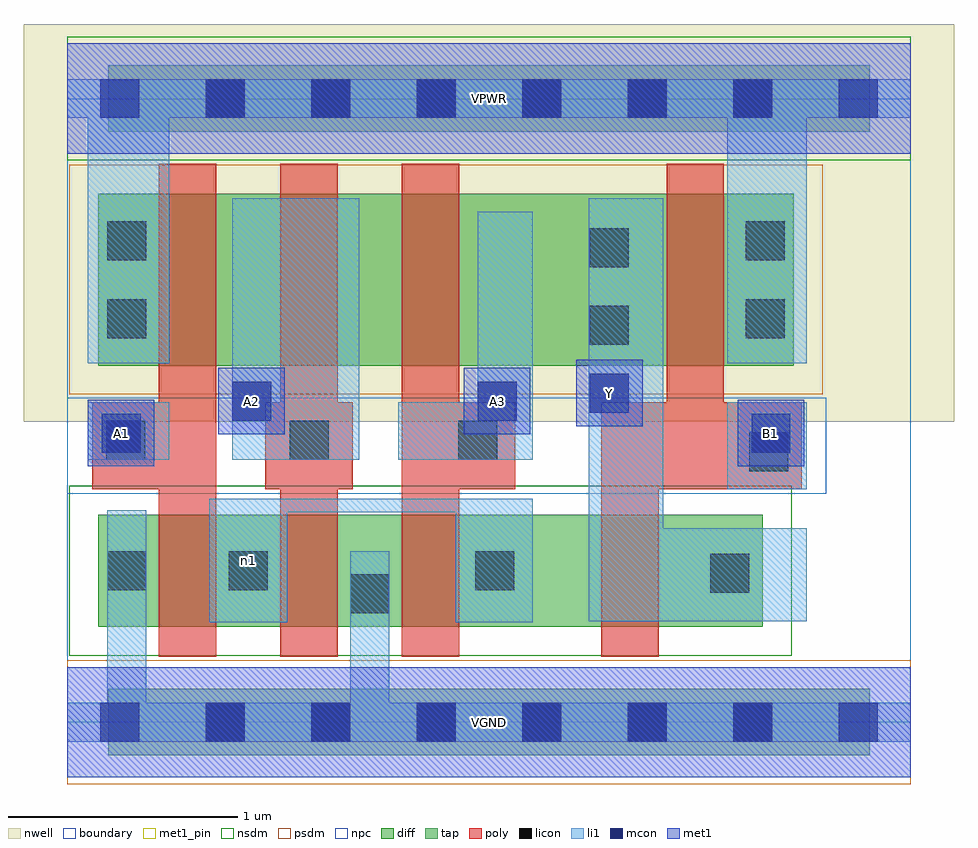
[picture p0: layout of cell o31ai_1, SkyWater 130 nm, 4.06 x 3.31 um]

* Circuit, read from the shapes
.subckt o31ai_1 A1 A2 A3 B1 VGND VPWR Y n1
XM1 n1 A1 VGND VGND sky130_fd_pr__nfet_01v8 w=0.49 l=0.25
XM2 VGND A2 n1 VGND sky130_fd_pr__nfet_01v8 w=0.49 l=0.25
XM3 n1 A3 VGND VGND sky130_fd_pr__nfet_01v8 w=0.49 l=0.25
XM4 Y B1 n1 VGND sky130_fd_pr__nfet_01v8 w=0.49 l=0.25
XM5 n2 A1 VPWR VPWR sky130_fd_pr__pfet_01v8 w=0.75 l=0.25
XM6 n3 A2 n2 VPWR sky130_fd_pr__pfet_01v8 w=0.75 l=0.25
XM7 Y A3 n3 VPWR sky130_fd_pr__pfet_01v8 w=0.75 l=0.25
XM8 VPWR B1 Y VPWR sky130_fd_pr__pfet_01v8 w=0.75 l=0.25
.ends

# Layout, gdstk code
import gdstk
lib = gdstk.Library(unit=1e-6, precision=1e-09)
def R(c, l, rs):  # rectangles x0, y0, x1, y1
    for r in rs: c.add(gdstk.rectangle(r[:2], r[2:], *l))
def A(c, l, x, y, w, h, nx, ny, dx, dy):  # array of equal rectangles
    R(c, l, [(x+i*dx, y+j*dy, x+i*dx+w, y+j*dy+h) for i in range(nx) for j in range(ny)])
nwell = (64, 20)
diff = (65, 20)
tap = (65, 44)
poly = (66, 20)
licon = (66, 44)
li1 = (67, 20)
mcon = (67, 44)
met1_pin = (68, 16)
met1 = (68, 20)
nsdm = (93, 44)
psdm = (94, 20)
npc = (95, 20)
boundary = (235, 4)

o31ai_1 = lib.new_cell('o31ai_1')
R(o31ai_1, nwell, [(-0.19,1.31,3.87,3.045), (0,1.31,3.68,3.045)])
R(o31ai_1, diff, [(0.135,0.415,3.035,0.905), (0.135,1.555,3.17,2.305)])
R(o31ai_1, tap, [(0.18,-0.145,3.5,0.145), (0.18,2.575,3.5,2.865)])
A(o31ai_1, poly, 0.4, 0.285, 0.25, 2.15, 3, 1, 0.53, 0)
R(o31ai_1, poly, [(2.33,0.285,2.58,1.395), (0.11,1.015,0.65,1.395), (0.865,1.015,1.245,1.395), (1.46,1.015,1.955,1.395), (2.33,1.015,3.205,1.395), (2.615,1.015,2.865,2.435)])
A(o31ai_1, licon, 0.605, -0.085, 0.17, 0.17, 6, 2, 0.46, 2.72)
R(o31ai_1, licon, [(1.235,0.475,1.405,0.645), (2.805,0.565,2.975,0.735), (0.175,0.575,0.345,0.745), (0.705,0.575,0.875,0.745), (1.78,0.575,1.95,0.745), (2.975,1.095,3.145,1.265), (0.17,1.145,0.34,1.315), (0.97,1.145,1.14,1.315), (1.705,1.145,1.875,1.315), (2.28,1.645,2.45,1.815), (0.175,1.675,0.345,1.845), (2.96,1.675,3.13,1.845), (2.28,1.985,2.45,2.155), (0.175,2.015,0.345,2.185), (2.96,2.015,3.13,2.185)])
R(o31ai_1, li1, [(0,-0.085,3.68,0.085), (0.175,-0.085,0.345,0.925), (1.235,-0.085,1.405,0.745), (0.62,0.435,0.96,0.975), (1.695,0.435,2.03,0.975), (2.275,0.44,2.6,2.285), (2.275,0.44,3.225,0.845), (0.62,0.915,2.03,0.975), (2.88,1.015,3.225,1.395), (0.09,1.145,0.445,1.395), (0.72,1.145,1.275,2.285), (1.445,1.145,2.03,1.395), (1.79,1.145,2.03,2.225), (0.09,1.565,0.445,2.805), (2.88,1.565,3.225,2.805), (0,2.635,3.68,2.805)])
A(o31ai_1, mcon, 0.145, -0.085, 0.17, 0.17, 8, 2, 0.46, 2.72)
R(o31ai_1, mcon, [(0.15,1.175,0.32,1.345), (2.985,1.175,3.155,1.345), (0.72,1.315,0.89,1.485), (1.79,1.315,1.96,1.485), (2.28,1.35,2.45,1.52)])
R(o31ai_1, met1_pin, [(0,-0.24,3.68,0.24), (0.09,1.115,0.38,1.405), (2.925,1.115,3.215,1.405), (0.66,1.255,0.95,1.545), (1.73,1.255,2.02,1.545), (2.22,1.29,2.51,1.58), (0,2.48,3.68,2.96)])
R(o31ai_1, met1, [(0,-0.24,3.68,0.24), (0.09,1.115,0.38,1.405), (2.925,1.115,3.215,1.405), (0.66,1.255,0.95,1.545), (1.73,1.255,2.02,1.545), (2.22,1.29,2.51,1.58), (0,2.48,3.68,2.96)])
R(o31ai_1, nsdm, [(0.01,0.29,3.16,1.03), (0,2.45,3.68,2.99)])
R(o31ai_1, psdm, [(0,-0.27,3.68,0.27), (0.01,1.43,3.295,2.43)])
R(o31ai_1, npc, [(0,0.995,3.31,1.415)])
R(o31ai_1, boundary, [(0,0,3.68,2.72)])
o31ai_1.add(gdstk.Label('n1', (0.79,0.705), layer=67, texttype=5))
o31ai_1.add(gdstk.Label('A1', (0.235,1.26), layer=68, texttype=5))
o31ai_1.add(gdstk.Label('A2', (0.805,1.4), layer=68, texttype=5))
o31ai_1.add(gdstk.Label('A3', (1.875,1.4), layer=68, texttype=5))
o31ai_1.add(gdstk.Label('B1', (3.07,1.26), layer=68, texttype=5))
o31ai_1.add(gdstk.Label('Y', (2.365,1.435), layer=68, texttype=5))
o31ai_1.add(gdstk.Label('VPWR', (1.84,2.72), layer=68, texttype=5))
o31ai_1.add(gdstk.Label('VGND', (1.84,0), layer=68, texttype=5))
o31ai_1.add(gdstk.Label('A1', (0.235,1.26), layer=68, texttype=16))
o31ai_1.add(gdstk.Label('A2', (0.805,1.4), layer=68, texttype=16))
o31ai_1.add(gdstk.Label('A3', (1.875,1.4), layer=68, texttype=16))
o31ai_1.add(gdstk.Label('B1', (3.07,1.26), layer=68, texttype=16))
o31ai_1.add(gdstk.Label('Y', (2.365,1.435), layer=68, texttype=16))
o31ai_1.add(gdstk.Label('VPWR', (1.84,2.72), layer=68, texttype=16))
o31ai_1.add(gdstk.Label('VGND', (1.84,0), layer=68, texttype=16))

lib.write_gds('o31ai_1.gds')
